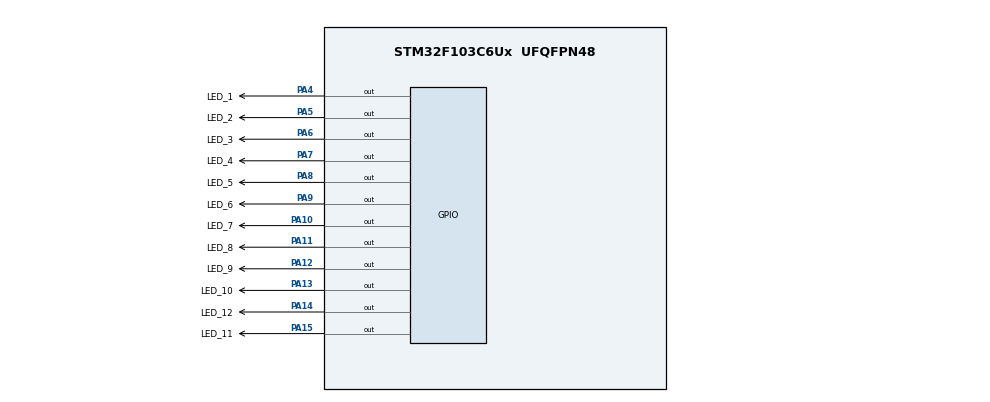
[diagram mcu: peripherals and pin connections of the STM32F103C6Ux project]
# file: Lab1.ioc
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Mcu.Family=STM32F1
Mcu.Name=STM32F103C6Ux
Mcu.Package=UFQFPN48
NVIC.PriorityGroup=NVIC_PRIORITYGROUP_4
PA10.GPIO_Label=LED_7
PA10.Signal=GPIO_Output
PA11.GPIO_Label=LED_8
PA11.Signal=GPIO_Output
PA12.GPIO_Label=LED_9
PA12.Signal=GPIO_Output
PA13.GPIO_Label=LED_10
PA13.Signal=GPIO_Output
PA14.GPIO_Label=LED_12
PA14.Signal=GPIO_Output
PA15.GPIO_Label=LED_11
PA15.Signal=GPIO_Output
PA4.GPIO_Label=LED_1
PA4.Signal=GPIO_Output
PA5.GPIO_Label=LED_2
PA5.Signal=GPIO_Output
PA6.GPIO_Label=LED_3
PA6.Signal=GPIO_Output
PA7.GPIO_Label=LED_4
PA7.Signal=GPIO_Output
PA8.GPIO_Label=LED_5
PA8.Signal=GPIO_Output
PA9.GPIO_Label=LED_6
PA9.Signal=GPIO_Output
ProjectManager.HeapSize=0x200
ProjectManager.StackSize=0x400
ProjectManager.TargetToolchain=STM32CubeIDE
RCC.APB1Freq_Value=8000000
RCC.APB2Freq_Value=8000000
board=custom

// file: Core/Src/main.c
/* USER CODE BEGIN Header */
/**
  ******************************************************************************
  * @file           : main.c
  * @brief          : Main program body
  ******************************************************************************
  * @attention
  *
  * Copyright (c) 2024 STMicroelectronics.
  * All rights reserved.
  *
  * This software is licensed under terms that can be found in the LICENSE file
  * in the root directory of this software component.
  * If no LICENSE file comes with this software, it is provided AS-IS.
  *
  ******************************************************************************
  */
/* USER CODE END Header */
#include "main.h"

void SystemClock_Config(void);
static void MX_GPIO_Init(void);
/* USER CODE BEGIN PFP */
void clearALLClock();
void setNumberOnClock(int num);
void clearNumberOnClock(int num);
/* USER CODE END PFP */

/* USER CODE BEGIN 0 */
int sec = 0;
int min = 50;
int hour = 6;

/* USER CODE END 0 */

int main(void)
{

  /* MCU Configuration--------------------------------------------------------*/

  /* Reset of all peripherals, Initializes the Flash interface and the Systick. */
  HAL_Init();

  /* Configure the system clock */
  SystemClock_Config();

  /* Initialize all configured peripherals */
  MX_GPIO_Init();
  /* USER CODE BEGIN 2 */
  clearALLClock();
  /* USER CODE END 2 */

  /* Infinite loop */
  /* USER CODE BEGIN WHILE */
  while (1)
  {
      sec++;
      if (sec >= 60)
      {
          sec = 0;
          min++;

          if (min >= 60)
          {
              min = 0;
              clearNumberOnClock(hour);
              hour++;

              if (hour >= 12)
              {
                  hour = 0;
              }
          }

          if (min % 5 == 0)
          {
              if (min / 5 == 0)
                  clearNumberOnClock(11);
              else
                  clearNumberOnClock(min / 5 - 1);
          }
      }

      setNumberOnClock(hour);
      setNumberOnClock(min / 5);

      if (sec % 5 == 0)
      {
          if (sec / 5 == 0)
              clearNumberOnClock(11);
          else
              clearNumberOnClock(sec / 5 - 1);

          setNumberOnClock(sec / 5);
      }

      HAL_Delay(10);
  }

  }

void SystemClock_Config(void)
{
  RCC_OscInitTypeDef RCC_OscInitStruct = {0};
  RCC_ClkInitTypeDef RCC_ClkInitStruct = {0};

  /** Initializes the RCC Oscillators according to the specified parameters
  * in the RCC_OscInitTypeDef structure.
  */
  RCC_OscInitStruct.OscillatorType = RCC_OSCILLATORTYPE_HSI;
  RCC_OscInitStruct.HSIState = RCC_HSI_ON;
  RCC_OscInitStruct.HSICalibrationValue = RCC_HSICALIBRATION_DEFAULT;
  RCC_OscInitStruct.PLL.PLLState = RCC_PLL_NONE;
  if (HAL_RCC_OscConfig(&RCC_OscInitStruct) != HAL_OK)
  {
    Error_Handler();
  }

  /** Initializes the CPU, AHB and APB buses clocks
  */
  RCC_ClkInitStruct.ClockType = RCC_CLOCKTYPE_HCLK|RCC_CLOCKTYPE_SYSCLK
                              |RCC_CLOCKTYPE_PCLK1|RCC_CLOCKTYPE_PCLK2;
  RCC_ClkInitStruct.SYSCLKSource = RCC_SYSCLKSOURCE_HSI;
  RCC_ClkInitStruct.AHBCLKDivider = RCC_SYSCLK_DIV1;
  RCC_ClkInitStruct.APB1CLKDivider = RCC_HCLK_DIV1;
  RCC_ClkInitStruct.APB2CLKDivider = RCC_HCLK_DIV1;

  if (HAL_RCC_ClockConfig(&RCC_ClkInitStruct, FLASH_LATENCY_0) != HAL_OK)
  {
    Error_Handler();
  }
}

static void MX_GPIO_Init(void)
{
  GPIO_InitTypeDef GPIO_InitStruct = {0};

  /* GPIO Ports Clock Enable */
  __HAL_RCC_GPIOA_CLK_ENABLE();

  /*Configure GPIO pin Output Level */
  HAL_GPIO_WritePin(GPIOA, LED_1_Pin|LED_2_Pin|LED_3_Pin|LED_4_Pin
                          |LED_5_Pin|LED_6_Pin|LED_7_Pin|LED_8_Pin
                          |LED_9_Pin|LED_10_Pin|LED_11_Pin|LED_12_Pin, GPIO_PIN_RESET);

  /*Configure GPIO pins : LED_1_Pin LED_2_Pin LED_3_Pin LED_4_Pin
                           LED_5_Pin LED_6_Pin LED_7_Pin LED_8_Pin
                           LED_9_Pin LED_10_Pin LED_11_Pin LED_12_Pin */
  GPIO_InitStruct.Pin = LED_1_Pin|LED_2_Pin|LED_3_Pin|LED_4_Pin
                          |LED_5_Pin|LED_6_Pin|LED_7_Pin|LED_8_Pin
                          |LED_9_Pin|LED_10_Pin|LED_11_Pin|LED_12_Pin;
  GPIO_InitStruct.Mode = GPIO_MODE_OUTPUT_PP;
  GPIO_InitStruct.Pull = GPIO_NOPULL;
  GPIO_InitStruct.Speed = GPIO_SPEED_FREQ_LOW;
  HAL_GPIO_Init(GPIOA, &GPIO_InitStruct);

}

/* USER CODE BEGIN 4 */
void clearALLClock(){
	  HAL_GPIO_WritePin(GPIOA, GPIO_PIN_4 | GPIO_PIN_5 | GPIO_PIN_6 | GPIO_PIN_7 |
	                   GPIO_PIN_8 | GPIO_PIN_9 | GPIO_PIN_10 | GPIO_PIN_11 |
	                   GPIO_PIN_12 | GPIO_PIN_13 | GPIO_PIN_14 | GPIO_PIN_15, GPIO_PIN_SET);
}
void setNumberOnClock(int num)
{
    // Turn on the LED corresponding to the number
    switch(num)
    {
        case 0: HAL_GPIO_WritePin(GPIOA, LED_12_Pin, GPIO_PIN_RESET); break;
        case 1: HAL_GPIO_WritePin(GPIOA, LED_1_Pin, GPIO_PIN_RESET); break;
        case 2: HAL_GPIO_WritePin(GPIOA, LED_2_Pin, GPIO_PIN_RESET); break;
        case 3: HAL_GPIO_WritePin(GPIOA, LED_3_Pin, GPIO_PIN_RESET); break;
        case 4: HAL_GPIO_WritePin(GPIOA, LED_4_Pin, GPIO_PIN_RESET); break;
        case 5: HAL_GPIO_WritePin(GPIOA, LED_5_Pin, GPIO_PIN_RESET); break;
        case 6: HAL_GPIO_WritePin(GPIOA, LED_6_Pin, GPIO_PIN_RESET); break;
        case 7: HAL_GPIO_WritePin(GPIOA, LED_7_Pin, GPIO_PIN_RESET); break;
        case 8: HAL_GPIO_WritePin(GPIOA, LED_8_Pin, GPIO_PIN_RESET); break;
        case 9: HAL_GPIO_WritePin(GPIOA, LED_9_Pin, GPIO_PIN_RESET); break;
        case 10: HAL_GPIO_WritePin(GPIOA, LED_10_Pin, GPIO_PIN_RESET); break;
        case 11: HAL_GPIO_WritePin(GPIOA, LED_11_Pin, GPIO_PIN_RESET); break;
    }
}

void clearNumberOnClock(int num)
{
    // Turn off the LED corresponding to the number
    switch(num)
    {
        case 0: HAL_GPIO_WritePin(GPIOA, LED_12_Pin, GPIO_PIN_SET); break;
        case 1: HAL_GPIO_WritePin(GPIOA, LED_1_Pin, GPIO_PIN_SET); break;
        case 2: HAL_GPIO_WritePin(GPIOA, LED_2_Pin, GPIO_PIN_SET); break;
        case 3: HAL_GPIO_WritePin(GPIOA, LED_3_Pin, GPIO_PIN_SET); break;
        case 4: HAL_GPIO_WritePin(GPIOA, LED_4_Pin, GPIO_PIN_SET); break;
        case 5: HAL_GPIO_WritePin(GPIOA, LED_5_Pin, GPIO_PIN_SET); break;
        case 6: HAL_GPIO_WritePin(GPIOA, LED_6_Pin, GPIO_PIN_SET); break;
        case 7: HAL_GPIO_WritePin(GPIOA, LED_7_Pin, GPIO_PIN_SET); break;
        case 8: HAL_GPIO_WritePin(GPIOA, LED_8_Pin, GPIO_PIN_SET); break;
        case 9: HAL_GPIO_WritePin(GPIOA, LED_9_Pin, GPIO_PIN_SET); break;
        case 10: HAL_GPIO_WritePin(GPIOA, LED_10_Pin, GPIO_PIN_SET); break;
        case 11: HAL_GPIO_WritePin(GPIOA, LED_11_Pin, GPIO_PIN_SET); break;
    }
}

/* USER CODE END 4 */

void Error_Handler(void)
{
  __disable_irq();
  while (1)
  {
  }
}
